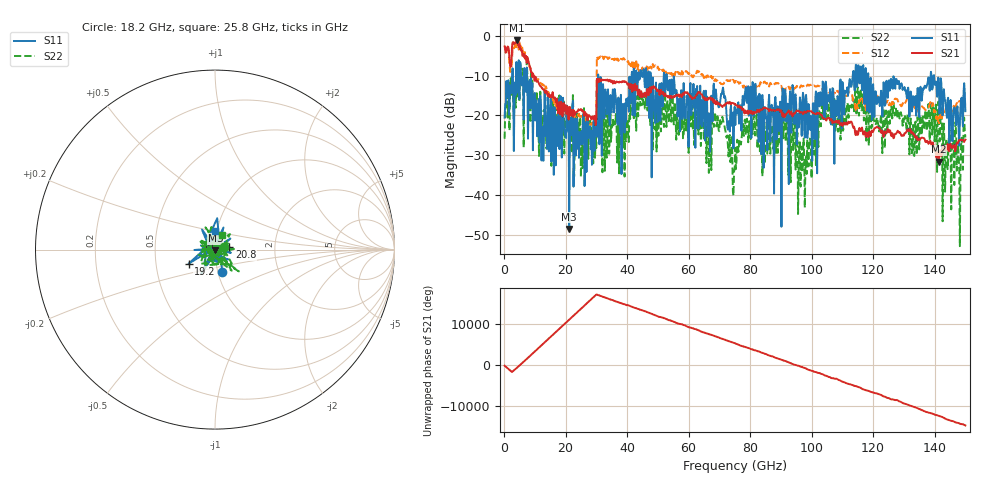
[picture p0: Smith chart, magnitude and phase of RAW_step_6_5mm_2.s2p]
!  2-Port S-parameters saved by WinCal
! VAR MeasName=S-Parameters (CALIBRATED_DATA) read from VNA (MS4647B)
! VAR MeasDate=27-Apr-22 17:09:55
! VAR NAME=RAW_stepline_6.5mm_2
! VAR FILENAME=RAW_stepline_6.5mm_2.S2P
! VAR DATE=27-Apr-22 17:09:55
! VAR PHYS_PORTS=1,2
! VAR ObjTypeName=DATASET
! VAR IndexType=Frequency
! VAR ChuckHeaterState=Unknown
! VAR ChuckTemp=NaN
! VAR ChuckTempUnits=Unknown
# Hz S RI R 50
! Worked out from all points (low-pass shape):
!   750 points, 200 MHz to 150 GHz, reference 50 ohm
!   highest |S21| = -1.22 dB at 4.2 GHz (marker M1); lowest = -31.6 dB at 141.4 GHz (marker M2)
!   |S21| within 3 dB of the highest: 623.5 MHz to 1.633 GHz (1.01 GHz wide, 89.5 % of centre); 2.534 GHz to 5.875 GHz (3.341 GHz wide, 79.5 % of centre)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
!   lowest |S11| = -48.4 dB at 21.2 GHz (marker M3), VSWR 1.01, Z = 50.2 - j0.323 ohm
!   |S11| at or under -10 dB: 7.494 GHz to 30.59 GHz (23.1 GHz wide, 121 % of centre); 52.88 GHz to 113.4 GHz (60.5 GHz wide, 72.8 % of centre); 118.4 GHz to 138.7 GHz (20.29 GHz wide, 15.8 % of centre)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
!   |S22| runs from -52.7 to -6.3 dB; largest |S21 - S12| = 1.7
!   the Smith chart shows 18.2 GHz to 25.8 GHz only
!   S11 on the Smith chart (normalised r, x): 18.2 GHz: 1.05, -0.26; 19.2 GHz: 0.74, -0.12; 20.8 GHz: 1.17, +0.03; 25.8 GHz: 0.98, +0.20
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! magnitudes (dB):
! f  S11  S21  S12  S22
! 200 MHz  -20.5  -2.7  -2.6  -25.8
! 4.2 GHz  -14.3  -1.2  -1.7  -15.8
! 12.2 GHz  -31.3  -12.9  -12.0  -23.4
! 18.2 GHz  -17.8  -19.7  -20.9  -25.5
! 19.2 GHz  -15.6  -18.5  -19.9  -17.4
! 20.8 GHz  -21.8  -18.2  -19.1  -19.1
! 21.2 GHz  -48.4  -18.1  -19.2  -20.9
! 25.2 GHz  -23.9  -18.6  -20.3  -26.9
! 25.8 GHz  -19.7  -19.2  -21.0  -21.2
! 29.4 GHz  -28.8  -20.1  -21.7  -27.4
! 30.8 GHz  -10.6  -11.7  -5.5  -17.5
! 45 GHz  -10.3  -15.5  -8.0  -17.3
! 50.2 GHz  -14.9  -13.6  -8.1  -25.1
! 70.8 GHz  -14.7  -17.7  -12.1  -21.2
! 75.2 GHz  -22.4  -17.1  -11.4  -28.1
! 81.6 GHz  -12.2  -19.3  -13.3  -25.0
! 100.2 GHz  -31.4  -19.2  -12.4  -26.9
! 104.6 GHz  -11.5  -21.0  -13.6  -20.7
! 125.2 GHz  -11.2  -24.2  -17.5  -19.8
! 141.4 GHz  -12.6  -31.6  -21.9  -18.2
! 147.8 GHz  -23.7  -26.4  -16.7  -29.8
! 150 GHz  -18.9  -26.0  -16.9  -25.5
